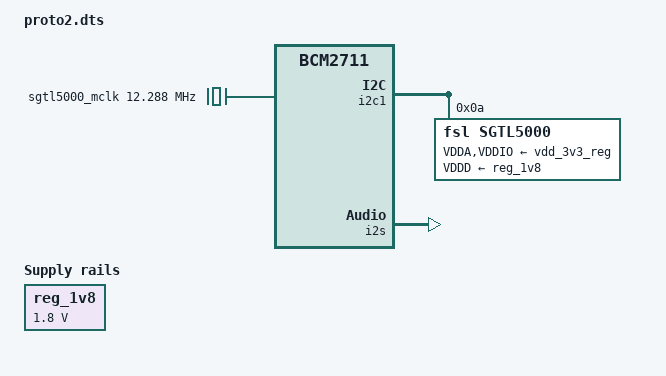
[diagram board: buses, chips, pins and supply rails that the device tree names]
/dts-v1/;
/plugin/;

/ {
	compatible = "brcm,bcm2711";

	fragment@0 {
		target-path = "/";
		__overlay__ {
			sgtl5000_mclk: sgtl5000_mclk {
				compatible = "fixed-clock";
				#clock-cells = <0>;
				clock-frequency = <12288000>;
				clock-output-names = "sgtl5000-mclk";
			};
		};
	};

	fragment@1 {
		target = <&soc>;
		__overlay__ {
			reg_1v8: reg_1v8 {
				compatible = "regulator-fixed";
				regulator-name = "1V8";
				regulator-min-microvolt = <1800000>;
				regulator-max-microvolt = <1800000>;
				regulator-always-on;
			};
		};
	};

	fragment@2 {
		target = <&i2c1>;
		__overlay__ {
			#address-cells = <1>;
			#size-cells = <0>;
			status = "okay";

			sgtl5000@a {
				#sound-dai-cells = <0>;
				compatible = "fsl,sgtl5000";
				reg = <0x0a>;
				clocks = <&sgtl5000_mclk>;
				micbias-resistor-k-ohms = <2>;
				micbias-voltage-m-volts = <3000>;
				VDDA-supply = <&vdd_3v3_reg>;
				VDDIO-supply = <&vdd_3v3_reg>;
				VDDD-supply = <&reg_1v8>;
				status = "okay";
			};
		};
	};

	fragment@3 {
		target = <&i2s>;
		__overlay__ {
			status = "okay";
			#sound-dai-cells = <0>;
		};
	};

    fragment@4 {
        target = <&sound>;
        __overlay__ {
            compatible = "simple-audio-card";
            simple-audio-card,name = "mncam";
            simple-audio-card,format = "i2s";

            status = "okay";

            simple-audio-card,cpu {
                sound-dai = <&i2s>;
                dai-tdm-slot-num = <2>;
                dai-tdm-slot-width = <32>;
            };

            simple-audio-card,codec {
                sound-dai = <&sgtl5000>;
            };
        };
    };
};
